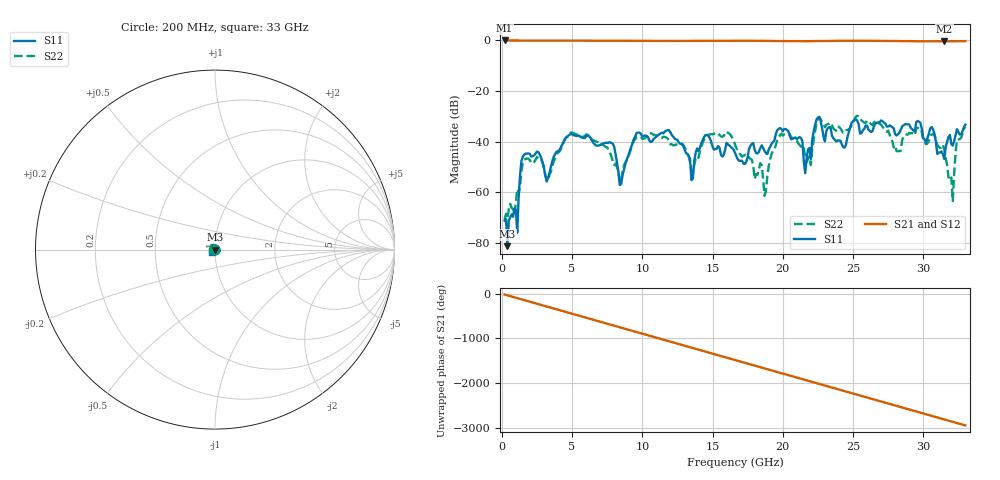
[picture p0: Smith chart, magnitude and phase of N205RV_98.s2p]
# GHZ S RI R 50
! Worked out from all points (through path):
!   329 points, 200 MHz to 33 GHz, reference 50 ohm
!   highest |S21| = -0.02 dB at 200 MHz (marker M1); lowest = -0.4 dB at 31.5 GHz (marker M2)
!   group delay of S21, straight-line fit = 248 ps
!   lowest |S11| = -81.3 dB at 400 MHz (marker M3), VSWR 1.00, Z = 50 - j0.000926 ohm
!   |S11| at or under -10 dB: start of sweep to end of sweep
!   |S22| runs from -70.9 to -29.8 dB; largest |S21 - S12| = 0.0019
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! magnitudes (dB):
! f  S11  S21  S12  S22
! 200 MHz  -71.3  0.0  0.0  -70.9
! 400 MHz  -81.3  0.0  0.0  -70.3
! 1.1 GHz  -76.0  -0.1  -0.1  -58.8
! 1.5 GHz  -45.9  -0.1  -0.1  -48.3
! 3.2 GHz  -55.8  -0.1  -0.1  -54.7
! 5.7 GHz  -38.4  -0.1  -0.1  -38.1
! 7.9 GHz  -40.8  -0.1  -0.1  -47.8
! 8.4 GHz  -57.1  -0.1  -0.1  -56.1
! 9.6 GHz  -36.6  -0.2  -0.2  -38.3
! 11.2 GHz  -37.1  -0.2  -0.2  -38.0
! 13.5 GHz  -55.2  -0.2  -0.2  -51.3
! 14.5 GHz  -37.4  -0.1  -0.1  -38.4
! 16.6 GHz  -44.4  -0.1  -0.1  -41.1
! 18.7 GHz  -43.6  -0.2  -0.2  -61.4
! 19.9 GHz  -35.0  -0.3  -0.3  -36.8
! 21.6 GHz  -52.5  -0.3  -0.3  -46.4
! 22.1 GHz  -39.1  -0.3  -0.3  -42.8
! 27.6 GHz  -33.6  -0.2  -0.2  -37.2
! 31.5 GHz  -46.8  -0.4  -0.4  -43.1
! 32.1 GHz  -41.5  -0.3  -0.3  -63.5
! 32.4 GHz  -35.1  -0.3  -0.3  -39.2
! 33 GHz  -33.3  -0.3  -0.3  -34.2
